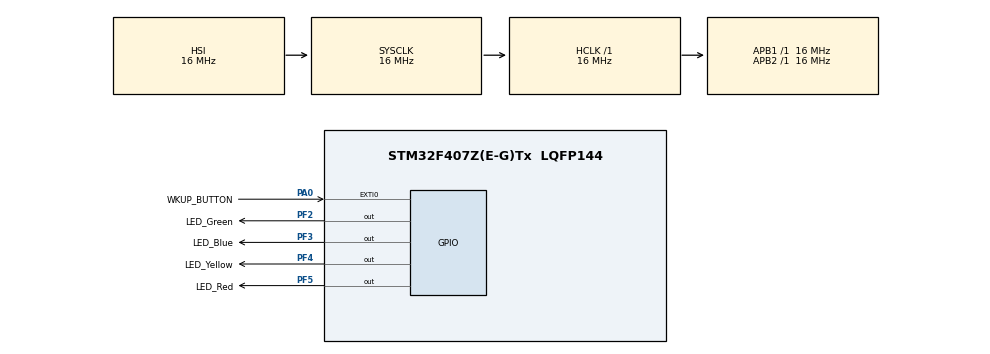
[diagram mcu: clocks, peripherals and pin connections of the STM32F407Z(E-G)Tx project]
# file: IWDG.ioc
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Mcu.Family=STM32F4
Mcu.Name=STM32F407Z(E-G)Tx
Mcu.Package=LQFP144
NVIC.EXTI0_IRQn=true\:0\:0\:true\:false\:true\:true
NVIC.PriorityGroup=NVIC_PRIORITYGROUP_4
NVIC.TIM5_IRQn=true\:0\:0\:false\:false\:true\:true
PA0-WKUP.GPIO_Label=WKUP_BUTTON
PA0-WKUP.Signal=GPXTI0
PF2.GPIO_Label=LED_Green
PF2.Signal=GPIO_Output
PF3.GPIO_Label=LED_Blue
PF3.Signal=GPIO_Output
PF4.GPIO_Label=LED_Yellow
PF4.Signal=GPIO_Output
PF5.GPIO_Label=LED_Red
PF5.Signal=GPIO_Output
ProjectManager.HeapSize=0x200
ProjectManager.StackSize=0x400
ProjectManager.TargetToolchain=Makefile
RCC.AHBFreq_Value=16000000
RCC.APB1Freq_Value=16000000
RCC.APB2Freq_Value=16000000
RCC.CortexFreq_Value=16000000
RCC.HSE_VALUE=25000000
RCC.HSI_VALUE=16000000
RCC.LSE_VALUE=32768
RCC.SYSCLKFreq_VALUE=16000000
RCC.VCOOutputFreq_Value=192000000
TIM5.Channel-Input_Capture4_from_TI4_Remap=TIM_CHANNEL_4
TIM5.Period=0xFFFF
VP_IWDG_VS_IWDG.Mode=IWDG_Activate
VP_TIM5_VS_ClockSourceINT.Mode=Internal
VP_TIM5_VS_NoInput4.Mode=Input_Capture4_from_TI4_Remap
board=IWDG

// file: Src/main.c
/**
  ******************************************************************************
  * File Name          : main.c
  * Description        : Main program body
  ******************************************************************************
  ** This notice applies to any and all portions of this file
  * that are not between comment pairs USER CODE BEGIN and
  * USER CODE END. Other portions of this file, whether
  * inserted by the user or by software development tools
  * are owned by their respective copyright owners.
  *
  * COPYRIGHT(c) 2017 STMicroelectronics
  *
  * Redistribution and use in source and binary forms, with or without modification,
  * are permitted provided that the following conditions are met:
  *   1. Redistributions of source code must retain the above copyright notice,
  *      this list of conditions and the following disclaimer.
  *   2. Redistributions in binary form must reproduce the above copyright notice,
  *      this list of conditions and the following disclaimer in the documentation
  *      and/or other materials provided with the distribution.
  *   3. Neither the name of STMicroelectronics nor the names of its contributors
  *      may be used to endorse or promote products derived from this software
  *      without specific prior written permission.
  *
  * THIS SOFTWARE IS PROVIDED BY THE COPYRIGHT HOLDERS AND CONTRIBUTORS "AS IS"
  * AND ANY EXPRESS OR IMPLIED WARRANTIES, INCLUDING, BUT NOT LIMITED TO, THE
  * IMPLIED WARRANTIES OF MERCHANTABILITY AND FITNESS FOR A PARTICULAR PURPOSE ARE
  * DISCLAIMED. IN NO EVENT SHALL THE COPYRIGHT HOLDER OR CONTRIBUTORS BE LIABLE
  * FOR ANY DIRECT, INDIRECT, INCIDENTAL, SPECIAL, EXEMPLARY, OR CONSEQUENTIAL
  * DAMAGES (INCLUDING, BUT NOT LIMITED TO, PROCUREMENT OF SUBSTITUTE GOODS OR
  * SERVICES; LOSS OF USE, DATA, OR PROFITS; OR BUSINESS INTERRUPTION) HOWEVER
  * CAUSED AND ON ANY THEORY OF LIABILITY, WHETHER IN CONTRACT, STRICT LIABILITY,
  * OR TORT (INCLUDING NEGLIGENCE OR OTHERWISE) ARISING IN ANY WAY OUT OF THE USE
  * OF THIS SOFTWARE, EVEN IF ADVISED OF THE POSSIBILITY OF SUCH DAMAGE.
  *
  ******************************************************************************
  */

#include "main.h"
#include "stm32f4xx_hal.h"

IWDG_HandleTypeDef hiwdg;

TIM_HandleTypeDef htim5;

/* USER CODE BEGIN PV */
/* Private variables ---------------------------------------------------------*/
static __IO uint32_t uwLsiFreq = 0;
__IO uint32_t uwCaptureNumber = 0;
__IO uint32_t uwPeriodValue = 0;
__IO uint32_t uwMeasurementDone = 0;
/* USER CODE END PV */

void SystemClock_Config(void);
static void MX_GPIO_Init(void);
static void MX_IWDG_Init(void);
static void MX_TIM5_Init(void);

/* USER CODE BEGIN PFP */
/* Private function prototypes -----------------------------------------------*/
static uint32_t GetLSIFrequency(void);
/* USER CODE END PFP */

int main(void)
{

  /* MCU Configuration----------------------------------------------------------*/

  /* Reset of all peripherals, Initializes the Flash interface and the Systick. */
  HAL_Init();

  /* Configure the system clock */
  SystemClock_Config();

  /* Initialize all configured peripherals */
  MX_GPIO_Init();
  MX_IWDG_Init();
  MX_TIM5_Init();

  /* USER CODE BEGIN 2 */

  /* ##-1- Check if the system has resumed from IWDG reset ###################### */
  if(__HAL_RCC_GET_FLAG(RCC_FLAG_IWDGRST) != RESET)
  {
    /* IWDGRST flag set: Turn LED_Blue on */
    HAL_GPIO_WritePin(LED_Blue_GPIO_Port, LED_Blue_Pin, GPIO_PIN_SET);

    /* Clear reset flags */
    __HAL_RCC_CLEAR_RESET_FLAGS();
  }
  else
  {
    /* IWDGRST flag is not set: Turn LED_Blue off */
    HAL_GPIO_WritePin(LED_Blue_GPIO_Port, LED_Blue_Pin, GPIO_PIN_RESET);
  }

  /* /\*##-2- Get the LSI frequency: TIM5 is used to measure the LSI frequency ###*\/ */
  uwLsiFreq = GetLSIFrequency();

  /*##-3- Configure the IWDG peripheral #####################################*/
  /* Set counter reload value to obtain 250ms IWDG Timeout.
     IWDG counter clock frequency = LsiFreq / 32
     Counter Reload Value = 250ms / IWDG counter clock period
                          = 0.25s / (32/LsiFreq)
  			  = LsiFreq / 128 */
  hiwdg.Instance = IWDG;
  hiwdg.Init.Prescaler = IWDG_PRESCALER_32;
  hiwdg.Init.Reload = uwLsiFreq/128;
  if (HAL_IWDG_Init(&hiwdg) != HAL_OK)
  {
    _Error_Handler(__FILE__, __LINE__);
  }

  /* USER CODE END 2 */

  /* Infinite loop */
  /* USER CODE BEGIN WHILE */
  while (1)
  {
    /* Toggle LED_Green */
    HAL_GPIO_TogglePin(LED_Green_GPIO_Port, LED_Green_Pin);

    /* Insert 240ms delay */
    HAL_Delay(240);

    /* Refresh IWDG: reload counter */
    if(HAL_IWDG_Refresh(&hiwdg) != HAL_OK)
    {
      _Error_Handler(__FILE__, __LINE__);
    }

  /* USER CODE END WHILE */

  }

}

/** System Clock Configuration
*/
void SystemClock_Config(void)
{

  RCC_OscInitTypeDef RCC_OscInitStruct;
  RCC_ClkInitTypeDef RCC_ClkInitStruct;

    /**Configure the main internal regulator output voltage
    */
  __HAL_RCC_PWR_CLK_ENABLE();

  __HAL_PWR_VOLTAGESCALING_CONFIG(PWR_REGULATOR_VOLTAGE_SCALE1);

    /**Initializes the CPU, AHB and APB busses clocks
    */
  RCC_OscInitStruct.OscillatorType = RCC_OSCILLATORTYPE_HSI|RCC_OSCILLATORTYPE_LSI;
  RCC_OscInitStruct.HSIState = RCC_HSI_ON;
  RCC_OscInitStruct.HSICalibrationValue = 16;
  RCC_OscInitStruct.LSIState = RCC_LSI_ON;
  RCC_OscInitStruct.PLL.PLLState = RCC_PLL_NONE;
  if (HAL_RCC_OscConfig(&RCC_OscInitStruct) != HAL_OK)
  {
    _Error_Handler(__FILE__, __LINE__);
  }

    /**Initializes the CPU, AHB and APB busses clocks
    */
  RCC_ClkInitStruct.ClockType = RCC_CLOCKTYPE_HCLK|RCC_CLOCKTYPE_SYSCLK
                              |RCC_CLOCKTYPE_PCLK1|RCC_CLOCKTYPE_PCLK2;
  RCC_ClkInitStruct.SYSCLKSource = RCC_SYSCLKSOURCE_HSI;
  RCC_ClkInitStruct.AHBCLKDivider = RCC_SYSCLK_DIV1;
  RCC_ClkInitStruct.APB1CLKDivider = RCC_HCLK_DIV1;
  RCC_ClkInitStruct.APB2CLKDivider = RCC_HCLK_DIV1;

  if (HAL_RCC_ClockConfig(&RCC_ClkInitStruct, FLASH_LATENCY_0) != HAL_OK)
  {
    _Error_Handler(__FILE__, __LINE__);
  }

    /**Configure the Systick interrupt time
    */
  HAL_SYSTICK_Config(HAL_RCC_GetHCLKFreq()/1000);

    /**Configure the Systick
    */
  HAL_SYSTICK_CLKSourceConfig(SYSTICK_CLKSOURCE_HCLK);

  /* SysTick_IRQn interrupt configuration */
  HAL_NVIC_SetPriority(SysTick_IRQn, 0, 0);
}

/* IWDG init function */
static void MX_IWDG_Init(void)
{

  hiwdg.Instance = IWDG;
  hiwdg.Init.Prescaler = IWDG_PRESCALER_4;
  hiwdg.Init.Reload = 4095;
  if (HAL_IWDG_Init(&hiwdg) != HAL_OK)
  {
    _Error_Handler(__FILE__, __LINE__);
  }

}

/* TIM5 init function */
static void MX_TIM5_Init(void)
{

  TIM_ClockConfigTypeDef sClockSourceConfig;
  TIM_MasterConfigTypeDef sMasterConfig;
  TIM_IC_InitTypeDef sConfigIC;

  htim5.Instance = TIM5;
  htim5.Init.Prescaler = 0;
  htim5.Init.CounterMode = TIM_COUNTERMODE_UP;
  htim5.Init.Period = 0xFFFF;
  htim5.Init.ClockDivision = TIM_CLOCKDIVISION_DIV1;
  if (HAL_TIM_Base_Init(&htim5) != HAL_OK)
  {
    _Error_Handler(__FILE__, __LINE__);
  }

  sClockSourceConfig.ClockSource = TIM_CLOCKSOURCE_INTERNAL;
  if (HAL_TIM_ConfigClockSource(&htim5, &sClockSourceConfig) != HAL_OK)
  {
    _Error_Handler(__FILE__, __LINE__);
  }

  if (HAL_TIM_IC_Init(&htim5) != HAL_OK)
  {
    _Error_Handler(__FILE__, __LINE__);
  }

  sMasterConfig.MasterOutputTrigger = TIM_TRGO_RESET;
  sMasterConfig.MasterSlaveMode = TIM_MASTERSLAVEMODE_DISABLE;
  if (HAL_TIMEx_MasterConfigSynchronization(&htim5, &sMasterConfig) != HAL_OK)
  {
    _Error_Handler(__FILE__, __LINE__);
  }

  sConfigIC.ICPolarity = TIM_INPUTCHANNELPOLARITY_RISING;
  sConfigIC.ICSelection = TIM_ICSELECTION_DIRECTTI;
  sConfigIC.ICPrescaler = TIM_ICPSC_DIV1;
  sConfigIC.ICFilter = 0;
  if (HAL_TIM_IC_ConfigChannel(&htim5, &sConfigIC, TIM_CHANNEL_4) != HAL_OK)
  {
    _Error_Handler(__FILE__, __LINE__);
  }

  if (HAL_TIMEx_RemapConfig(&htim5, TIM_TIM5_LSI) != HAL_OK)
  {
    _Error_Handler(__FILE__, __LINE__);
  }

}

/** Configure pins as
        * Analog
        * Input
        * Output
        * EVENT_OUT
        * EXTI
*/
static void MX_GPIO_Init(void)
{

  GPIO_InitTypeDef GPIO_InitStruct;

  /* GPIO Ports Clock Enable */
  __HAL_RCC_GPIOF_CLK_ENABLE();
  __HAL_RCC_GPIOA_CLK_ENABLE();

  /*Configure GPIO pin Output Level */
  HAL_GPIO_WritePin(GPIOF, LED_Green_Pin|LED_Blue_Pin|LED_Yellow_Pin|LED_Red_Pin, GPIO_PIN_RESET);

  /*Configure GPIO pins : LED_Green_Pin LED_Blue_Pin LED_Yellow_Pin LED_Red_Pin */
  GPIO_InitStruct.Pin = LED_Green_Pin|LED_Blue_Pin|LED_Yellow_Pin|LED_Red_Pin;
  GPIO_InitStruct.Mode = GPIO_MODE_OUTPUT_PP;
  GPIO_InitStruct.Pull = GPIO_NOPULL;
  GPIO_InitStruct.Speed = GPIO_SPEED_FREQ_LOW;
  HAL_GPIO_Init(GPIOF, &GPIO_InitStruct);

  /*Configure GPIO pin : WKUP_BUTTON_Pin */
  GPIO_InitStruct.Pin = WKUP_BUTTON_Pin;
  GPIO_InitStruct.Mode = GPIO_MODE_IT_RISING;
  GPIO_InitStruct.Pull = GPIO_NOPULL;
  HAL_GPIO_Init(WKUP_BUTTON_GPIO_Port, &GPIO_InitStruct);

  /* EXTI interrupt init*/
  HAL_NVIC_SetPriority(EXTI0_IRQn, 0, 0);
  HAL_NVIC_EnableIRQ(EXTI0_IRQn);

}

/* USER CODE BEGIN 4 */
/**
  * @brief  Configures TIM5 to measure the LSI oscillator frequency.
  * @param  None
  * @retval LSI Frequency
  */
static uint32_t GetLSIFrequency(void)
{
  uint32_t pclk1 = 0;
  TIM_ClockConfigTypeDef sClockSourceConfig;
  TIM_IC_InitTypeDef sConfigIC;
  TIM_MasterConfigTypeDef sMasterConfig;

  /* Enable the LSI oscillator */
  __HAL_RCC_LSI_ENABLE();

  /* Wait till LSI is ready */
  while (__HAL_RCC_GET_FLAG(RCC_FLAG_LSIRDY) == RESET)
  {
  }

  /* Configure the TIM peripheral */
  /* Set TIMx instance */
  htim5.Instance = TIM5;

  /* TIM5 configuration: Input capture mode ---------------------------
  The LSI oscillator is connected to TIM5 CH4.
  The Rising edge is used as active edge.
  The TIM5 CCR4 is used to compute the frequency value.
  -------------------------------------------------------------------*/
  htim5.Init.Prescaler         = 0;
  htim5.Init.CounterMode       = TIM_COUNTERMODE_UP;
  htim5.Init.Period            = 0xFFFF;
  htim5.Init.ClockDivision     = TIM_CLOCKDIVISION_DIV1;
  if (HAL_TIM_Base_Init(&htim5) != HAL_OK)
  {
    _Error_Handler(__FILE__, __LINE__);
  }

  sClockSourceConfig.ClockSource = TIM_CLOCKSOURCE_INTERNAL;
  if (HAL_TIM_ConfigClockSource(&htim5, &sClockSourceConfig) != HAL_OK)
  {
    _Error_Handler(__FILE__, __LINE__);
  }

  if (HAL_TIM_IC_Init(&htim5) != HAL_OK)
  {
    _Error_Handler(__FILE__, __LINE__);
  }

  sMasterConfig.MasterOutputTrigger = TIM_TRGO_RESET;
  sMasterConfig.MasterSlaveMode = TIM_MASTERSLAVEMODE_DISABLE;
  if (HAL_TIMEx_MasterConfigSynchronization(&htim5, &sMasterConfig) != HAL_OK)
  {
    _Error_Handler(__FILE__, __LINE__);
  }

  /* Configure the Input Capture of channel 4 */
  sConfigIC.ICPolarity = TIM_INPUTCHANNELPOLARITY_RISING;
  sConfigIC.ICSelection = TIM_ICSELECTION_DIRECTTI;
  sConfigIC.ICPrescaler = TIM_ICPSC_DIV1;
  sConfigIC.ICFilter = 0;
  if (HAL_TIM_IC_ConfigChannel(&htim5, &sConfigIC, TIM_CHANNEL_4) != HAL_OK)
  {
    _Error_Handler(__FILE__, __LINE__);
  }

  /* Connect internally the TIM5_CH4 Input Capture to the LSI clock output */
  if (HAL_TIMEx_RemapConfig(&htim5, TIM_TIM5_LSI) != HAL_OK)
  {
    _Error_Handler(__FILE__, __LINE__);
  }

  /* Reset the flags */
  htim5.Instance->SR = 0;

  /* Start the TIM Input Capture Measurement in interrupt mode */
  if(HAL_TIM_IC_Start_IT(&htim5, TIM_CHANNEL_4) != HAL_OK)
  {
    _Error_Handler(__FILE__,__LINE__);
  }

  /* Wait until the TIM5 get 2 LSI edges (refer to TIM5_IRQHandler()
     in stm32f4xx_it.c file) */
  while(uwMeasurementDone == 0)
  {
  }
  uwCaptureNumber = 0;

  /* Deinitialize the TIM5 peripheral registers to their default reset
     values */
  HAL_TIM_IC_DeInit(&htim5);

  /* Compute the LSI frequency, depending on TIM5 input clock
     frequency (PCLK1) */
  pclk1 = HAL_RCC_GetPCLK1Freq();
  return (pclk1 / uwPeriodValue);

}

/* USER CODE END 4 */

void _Error_Handler(char * file, int line)
{
  /* USER CODE BEGIN Error_Handler_Debug */
  HAL_GPIO_WritePin(LED_Yellow_GPIO_Port, LED_Yellow_Pin, GPIO_PIN_SET);

  /* User can add his own implementation to report the HAL error return state */
  while(1)
  {
  }
  /* USER CODE END Error_Handler_Debug */
}

/************************ (C) COPYRIGHT STMicroelectronics *****END OF FILE****/
